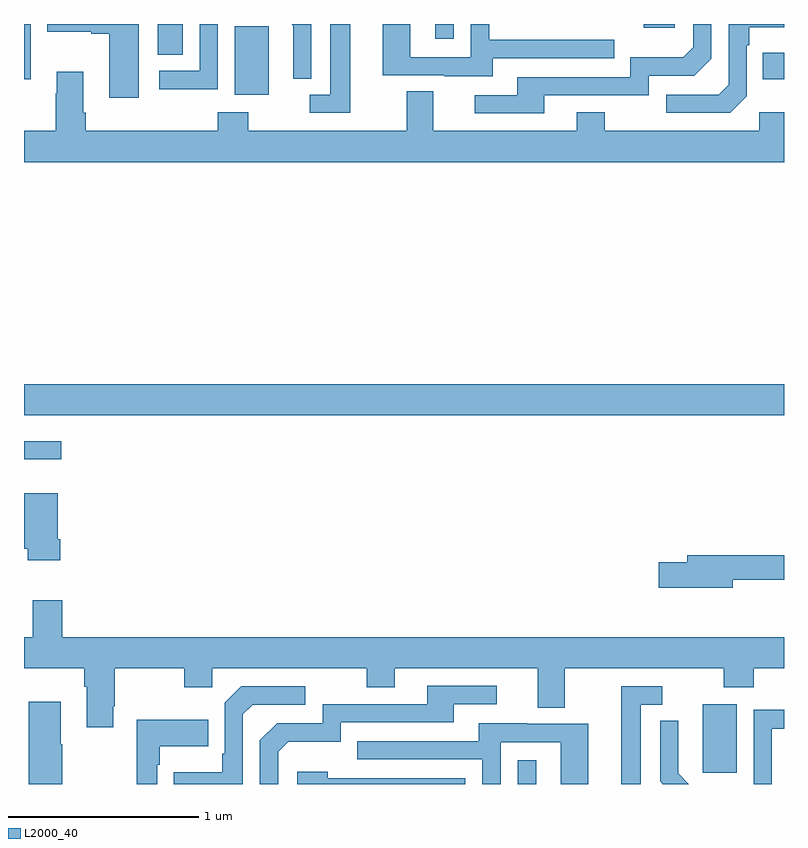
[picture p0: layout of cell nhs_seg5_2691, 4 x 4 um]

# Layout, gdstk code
import gdstk
lib = gdstk.Library(unit=1e-6, precision=1e-09)
def R(c, l, rs):  # rectangles x0, y0, x1, y1
    for r in rs: c.add(gdstk.rectangle(r[:2], r[2:], *l))
def P(c, l, *ps):  # polygons
    for p in ps: c.add(gdstk.Polygon(p, *l))
L2000_40 = (2000, 40)

nhs_seg5_2691 = lib.new_cell('nhs_seg5_2691')
R(nhs_seg5_2691, L2000_40, [(269.598,874.799,269.695,874.924), (270.572,874.857,270.751,875.218), (267,876.507,267.196,876.604), (267,876.74,271,876.904), (268.109,878.426,268.288,878.787), (267,878.507,267.036,878.799), (270.889,878.507,271,878.647), (267.704,878.638,267.835,878.799), (269.165,878.721,269.262,878.799), (270.263,878.78,270.424,878.799)])
P(nhs_seg5_2691, L2000_40, [(269.467,878.619),(270.107,878.619),(270.107,878.715),(269.448,878.715),(269.448,878.799),(269.352,878.799),(269.352,878.625),(269.034,878.625),(269.034,878.799),(268.889,878.799),(268.889,878.529),(269.213,878.529),(269.213,878.525),(269.467,878.525)],
  [(267.604,878.799),(267.123,878.799),(267.123,878.759),(267.353,878.759),(267.353,878.747),(267.449,878.747),(267.449,878.412),(267.604,878.412)],
  [(268.717,878.799),(268.613,878.799),(268.613,878.427),(268.503,878.427),(268.503,878.331),(268.717,878.331)],
  [(270.804,878.418),(270.804,878.687),(270.817,878.687),(270.817,878.783),(271,878.783),(271,878.799),(270.708,878.799),(270.708,878.478),(270.657,878.427),(270.381,878.427),(270.381,878.331),(270.717,878.331)],
  [(269.737,878.424),(270.288,878.424),(270.288,878.526),(270.528,878.526),(270.618,878.616),(270.618,878.799),(270.522,878.799),(270.522,878.676),(270.469,878.623),(270.192,878.623),(270.192,878.52),(269.597,878.52),(269.597,878.424),(269.373,878.424),(269.373,878.328),(269.737,878.328)],
  [(268.512,878.799),(268.408,878.799),(268.418,878.789),(268.418,878.666),(268.416,878.666),(268.416,878.512),(268.512,878.512)],
  [(268.02,878.799),(267.924,878.799),(267.924,878.553),(267.711,878.553),(267.711,878.455),(268.02,878.455)],
  [(271,878.335),(270.87,878.335),(270.87,878.236),(270.057,878.236),(270.057,878.335),(269.909,878.335),(269.909,878.236),(269.155,878.236),(269.155,878.444),(269.015,878.444),(269.015,878.236),(268.179,878.236),(268.179,878.335),(268.019,878.335),(268.019,878.236),(267.326,878.236),(267.326,878.332),(267.313,878.332),(267.313,878.548),(267.173,878.548),(267.173,878.435),(267.166,878.435),(267.166,878.236),(267,878.236),(267,878.072),(271,878.072)],
  [(267.191,876.088),(267.178,876.088),(267.178,876.328),(267,876.328),(267,876.036),(267.02,876.036),(267.02,875.976),(267.191,875.976)],
  [(270.73,875.874),(271,875.874),(271,876.002),(270.491,876.002),(270.491,875.966),(270.342,875.966),(270.342,875.831),(270.73,875.831)],
  [(267.469,875.209),(267.477,875.209),(267.477,875.408),(267.844,875.408),(267.844,875.309),(267.99,875.309),(267.99,875.408),(268.804,875.408),(268.804,875.309),(268.951,875.309),(268.951,875.408),(269.705,875.408),(269.705,875.2),(269.845,875.2),(269.845,875.408),(270.682,875.408),(270.682,875.309),(270.842,875.309),(270.842,875.408),(271,875.408),(271,875.572),(267.2,875.572),(267.2,875.767),(267.047,875.767),(267.047,875.572),(267,875.572),(267,875.408),(267.317,875.408),(267.317,875.312),(267.329,875.312),(267.329,875.097),(267.469,875.097)],
  [(268.338,874.968),(268.391,875.021),(268.668,875.021),(268.668,875.124),(269.263,875.124),(269.263,875.22),(269.488,875.22),(269.488,875.316),(269.123,875.316),(269.123,875.22),(268.572,875.22),(268.572,875.118),(268.332,875.118),(268.242,875.028),(268.242,874.799),(268.338,874.799)],
  [(268.152,875.166),(268.203,875.217),(268.48,875.217),(268.48,875.313),(268.143,875.313),(268.056,875.226),(268.056,874.957),(268.044,874.957),(268.044,874.861),(267.787,874.861),(267.787,874.799),(268.152,874.799)],
  [(270.247,875.217),(270.358,875.217),(270.358,875.313),(270.143,875.313),(270.143,874.799),(270.247,874.799)],
  [(267.201,875.009),(267.193,875.009),(267.193,875.233),(267.026,875.233),(267.026,874.799),(267.201,874.799)],
  [(270.936,875.091),(271,875.091),(271,875.19),(270.84,875.19),(270.84,874.799),(270.936,874.799)],
  [(267.702,874.901),(267.715,874.901),(267.715,874.997),(267.971,874.997),(267.971,875.137),(267.594,875.137),(267.594,874.799),(267.702,874.799)],
  [(270.443,874.856),(270.443,874.978),(270.444,874.978),(270.444,875.132),(270.348,875.132),(270.348,874.814),(270.363,874.799),(270.499,874.799)],
  [(269.508,875.019),(269.826,875.019),(269.826,874.799),(269.971,874.799),(269.971,875.115),(269.647,875.115),(269.647,875.119),(269.393,875.119),(269.393,875.025),(268.753,875.025),(268.753,874.929),(269.412,874.929),(269.412,874.799),(269.508,874.799)],
  [(269.322,874.83),(268.598,874.83),(268.598,874.864),(268.437,874.864),(268.437,874.799),(269.322,874.799)])

lib.write_gds('nhs_seg5_2691.gds')
